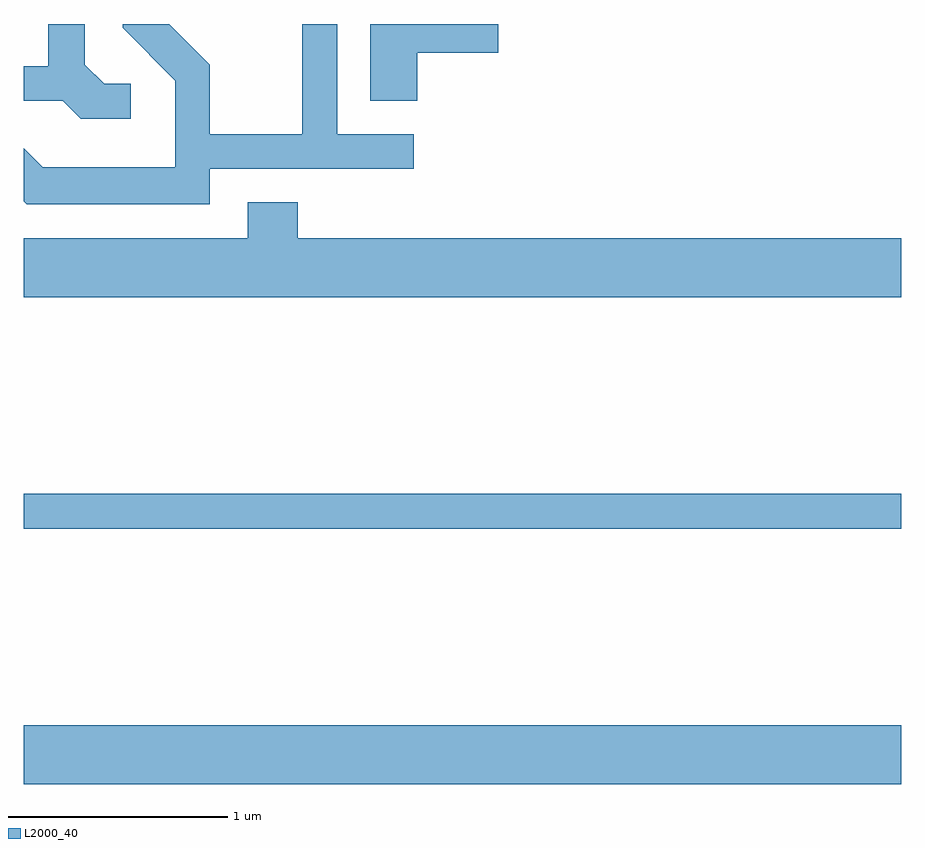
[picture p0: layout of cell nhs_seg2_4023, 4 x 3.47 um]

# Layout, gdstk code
import gdstk
lib = gdstk.Library(unit=1e-6, precision=1e-09)
def R(c, l, rs):  # rectangles x0, y0, x1, y1
    for r in rs: c.add(gdstk.rectangle(r[:2], r[2:], *l))
def P(c, l, *ps):  # polygons
    for p in ps: c.add(gdstk.Polygon(p, *l))
L2000_40 = (2000, 40)

nhs_seg2_4023 = lib.new_cell('nhs_seg2_4023')
R(nhs_seg2_4023, L2000_40, [(303.611,1028.336,307.611,1028.604), (303.611,1029.501,307.611,1029.659)])
P(nhs_seg2_4023, L2000_40, [(304.098,1031.529),(303.977,1031.529),(303.889,1031.617),(303.889,1031.802),(303.721,1031.802),(303.721,1031.609),(303.611,1031.609),(303.611,1031.451),(303.789,1031.451),(303.869,1031.371),(304.098,1031.371)],
  [(304.459,1031.141),(305.388,1031.141),(305.388,1031.299),(305.039,1031.299),(305.039,1031.802),(304.881,1031.802),(304.881,1031.299),(304.459,1031.299),(304.459,1031.617),(304.274,1031.802),(304.061,1031.802),(304.061,1031.784),(304.301,1031.544),(304.301,1031.149),(303.697,1031.149),(303.611,1031.235),(303.611,1030.994),(303.624,1030.981),(304.459,1030.981)],
  [(305.404,1031.671),(305.774,1031.671),(305.774,1031.802),(305.191,1031.802),(305.191,1031.451),(305.404,1031.451)],
  [(307.611,1030.824),(304.859,1030.824),(304.859,1030.989),(304.631,1030.989),(304.631,1030.824),(303.611,1030.824),(303.611,1030.556),(307.611,1030.556)])

lib.write_gds('nhs_seg2_4023.gds')
